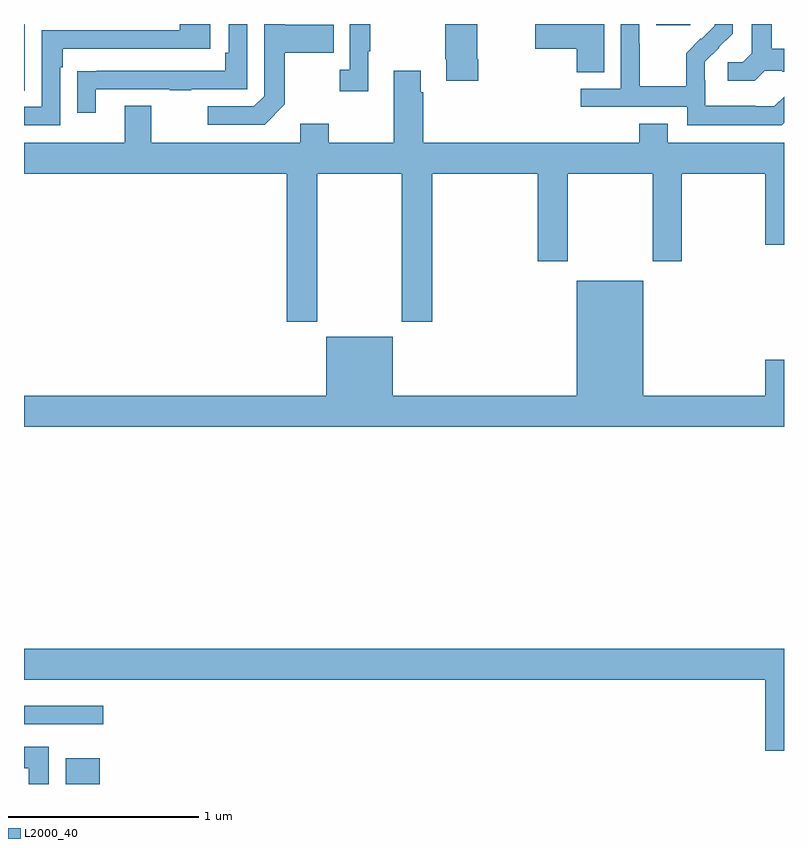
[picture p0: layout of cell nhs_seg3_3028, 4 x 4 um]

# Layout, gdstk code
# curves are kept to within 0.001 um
import gdstk
lib = gdstk.Library(unit=1e-6, precision=1e-09)
def R(c, l, rs):  # rectangles x0, y0, x1, y1
    for r in rs: c.add(gdstk.rectangle(r[:2], r[2:], *l))
def P(c, l, *ps):  # polygons
    for p in ps: c.add(gdstk.Polygon(p, *l))
L2000_40 = (2000, 40)

nhs_seg3_3028 = lib.new_cell('nhs_seg3_3028')
R(nhs_seg3_3028, L2000_40, [(269.219,668.4,269.398,668.536), (269,668.715,269.416,668.812), (269,672.049,269.004,672.4), (272.327,672.393,272.506,672.4)])
P(nhs_seg3_3028, L2000_40, [(272.898,672.153),(272.992,672.153),(272.992,672.15),(273,672.15),(273,672.269),(272.935,672.269),(272.935,672.4),(272.831,672.4),(272.831,672.245),(272.784,672.198),(272.703,672.198),(272.703,672.101),(272.846,672.101)],
  [(272.053,672.4),(271.692,672.4),(271.692,672.269),(271.91,672.269),(271.91,672.145),(272.053,672.145)],
  [(273,671.88),(273,672.018),(272.949,671.967),(272.849,671.967),(272.849,671.971),(272.586,671.971),(272.586,672.105),(272.584,672.105),(272.584,672.202),(272.73,672.35),(272.73,672.4),(272.636,672.4),(272.636,672.392),(272.565,672.321),(272.562,672.324),(272.485,672.247),(272.485,672.073),(272.241,672.073),(272.241,672.296),(272.238,672.296),(272.238,672.4),(272.142,672.4),(272.142,672.06),(271.929,672.06),(271.929,671.964),(272.49,671.964),(272.49,671.867),(272.987,671.867)],
  [(270.373,671.977),(270.373,672.25),(270.629,672.25),(270.629,672.397),(270.373,672.397),(270.373,672.4),(270.264,672.4),(270.264,672.021),(270.21,671.967),(269.967,671.967),(269.967,671.871),(270.267,671.871)],
  [(270.811,672.257),(270.823,672.257),(270.823,672.4),(270.714,672.4),(270.714,672.158),(270.663,672.158),(270.663,672.045),(270.811,672.045)],
  [(271.391,672.214),(271.386,672.214),(271.386,672.4),(271.216,672.4),(271.216,672.214),(271.223,672.214),(271.223,672.102),(271.391,672.102)],
  [(269.19,672.173),(269.203,672.173),(269.203,672.27),(269.98,672.27),(269.98,672.4),(269.819,672.4),(269.819,672.366),(269.094,672.366),(269.094,671.964),(269,671.964),(269,671.868),(269.19,671.868)],
  [(269.377,672.057),(269.767,672.057),(269.767,672.052),(269.879,672.052),(269.879,672.057),(270.174,672.057),(270.174,672.4),(270.078,672.4),(270.078,672.25),(270.058,672.25),(270.058,672.153),(269.383,672.153),(269.383,672.152),(269.281,672.152),(269.281,671.934),(269.377,671.934)],
  [(270.543,671.612),(270.988,671.612),(270.988,670.833),(271.148,670.833),(271.148,671.612),(271.703,671.612),(271.703,671.151),(271.863,671.151),(271.863,671.612),(272.308,671.612),(272.308,671.151),(272.463,671.151),(272.463,671.612),(272.9,671.612),(272.9,671.238),(273,671.238),(273,671.776),(272.389,671.776),(272.389,671.875),(272.237,671.875),(272.237,671.776),(271.1,671.776),(271.1,672.041),(271.087,672.041),(271.087,672.154),(270.947,672.154),(270.947,671.776),(270.603,671.776),(270.603,671.875),(270.455,671.875),(270.455,671.776),(269.671,671.776),(269.671,671.971),(269.531,671.971),(269.531,671.776),(269,671.776),(269,671.612),(270.383,671.612),(270.383,670.833),(270.543,670.833)],
  [(273,670.633),(272.9,670.633),(272.9,670.444),(272.26,670.444),(272.26,671.05),(271.91,671.05),(271.91,670.444),(270.94,670.444),(270.94,670.753),(270.59,670.753),(270.59,670.444),(269,670.444),(269,670.28),(273,670.28)],
  [(273,669.112),(269,669.112),(269,668.948),(272.9,668.948),(272.9,668.574),(273,668.574)],
  [(269.131,668.596),(269,668.596),(269,668.483),(269.024,668.483),(269.024,668.4),(269.131,668.4)])

lib.write_gds('nhs_seg3_3028.gds')
